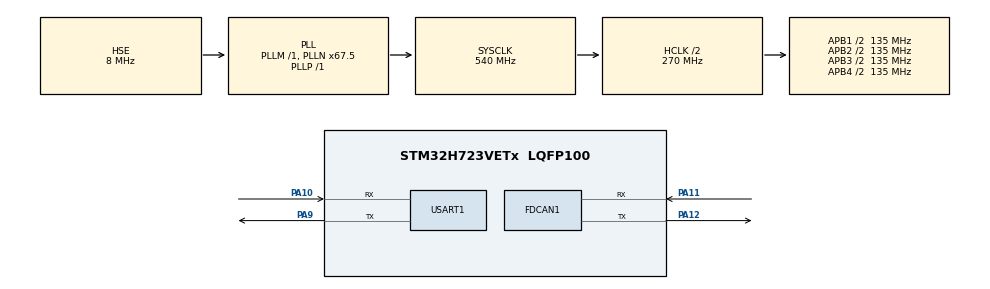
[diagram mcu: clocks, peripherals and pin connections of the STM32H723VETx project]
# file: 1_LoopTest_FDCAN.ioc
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FDCAN1.CalculateBaudRateNominal=1000000
FDCAN1.CalculateTimeBitNominal=1000
FDCAN1.CalculateTimeQuantumNominal=200.0
FDCAN1.DataPrescaler=1
FDCAN1.DataTimeSeg1=1
FDCAN1.Mode=FDCAN_MODE_EXTERNAL_LOOPBACK
FDCAN1.NominalPrescaler=27
FDCAN1.NominalTimeSeg1=2
FDCAN1.RxFifo0ElmtsNbr=32
FDCAN1.StdFiltersNbr=1
FDCAN1.TxFifoQueueElmtsNbr=32
Mcu.Family=STM32H7
Mcu.Name=STM32H723VETx
Mcu.Package=LQFP100
NVIC.FDCAN1_IT0_IRQn=true\:0\:0\:false\:false\:true\:true\:true\:true
NVIC.PriorityGroup=NVIC_PRIORITYGROUP_4
PA10.Mode=Asynchronous
PA10.Signal=USART1_RX
PA11.Mode=FDCAN_Activate
PA11.Signal=FDCAN1_RX
PA12.Mode=FDCAN_Activate
PA12.Signal=FDCAN1_TX
PA13(JTMS/SWDIO).Mode=Serial_Wire
PA13(JTMS/SWDIO).Signal=DEBUG_JTMS-SWDIO
PA14(JTCK/SWCLK).Mode=Serial_Wire
PA14(JTCK/SWCLK).Signal=DEBUG_JTCK-SWCLK
PA9.Mode=Asynchronous
PA9.Signal=USART1_TX
PH0-OSC_IN.Mode=HSE-External-Oscillator
PH0-OSC_IN.Signal=RCC_OSC_IN
PH1-OSC_OUT.Mode=HSE-External-Oscillator
PH1-OSC_OUT.Signal=RCC_OSC_OUT
ProjectManager.HeapSize=0x200
ProjectManager.StackSize=0x400
ProjectManager.TargetToolchain=Makefile
RCC.ADCFreq_Value=16125000
RCC.APB1Freq_Value=135000000
RCC.APB2Freq_Value=135000000
RCC.APB3Freq_Value=135000000
RCC.APB4Freq_Value=135000000
RCC.CortexFreq_Value=540000000
RCC.D1PPRE=RCC_APB3_DIV2
RCC.D2PPRE1=RCC_APB1_DIV2
RCC.D2PPRE2=RCC_APB2_DIV2
RCC.D3PPRE=RCC_APB4_DIV2
RCC.DIVM1=1
RCC.DIVN1=67
RCC.DIVP1=1
RCC.DIVQ1=4
RCC.HCLKFreq_Value=270000000
RCC.HPRE=RCC_HCLK_DIV2
RCC.HSE_VALUE=8000000
RCC.PLLFRACN=4096
RCC.PLLSourceVirtual=RCC_PLLSOURCE_HSE
RCC.SYSCLKFreq_VALUE=540000000
RCC.SYSCLKSource=RCC_SYSCLKSOURCE_PLLCLK
RCC.USBFreq_Value=135000000
USART1.VirtualMode-Asynchronous=VM_ASYNC
board=custom

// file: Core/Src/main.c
/* USER CODE BEGIN Header */
/**
 ******************************************************************************
 * @file           : main.c
 * @brief          : Main program body
 ******************************************************************************
 * @attention
 *
 * Copyright (c) 2023 STMicroelectronics.
 * All rights reserved.
 *
 * This software is licensed under terms that can be found in the LICENSE file
 * in the root directory of this software component.
 * If no LICENSE file comes with this software, it is provided AS-IS.
 *
 ******************************************************************************
 */
/* USER CODE END Header */
#include "main.h"
#include "fdcan.h"
#include "usart.h"
#include "gpio.h"

/* USER CODE BEGIN Includes */
#include "can_config.h"
#include <stdio.h>
/* USER CODE END Includes */

void SystemClock_Config(void);

/* USER CODE BEGIN 0 */
CAN_MSG can_msg;
/* USER CODE END 0 */

int main(void)
{

    /* MCU Configuration--------------------------------------------------------*/

    /* Reset of all peripherals, Initializes the Flash interface and the Systick. */
    HAL_Init();

    /* Configure the system clock */
    SystemClock_Config();

    /* Initialize all configured peripherals */
    MX_GPIO_Init();
    MX_FDCAN1_Init();
    MX_USART1_UART_Init();
    /* USER CODE BEGIN 2 */
    fdcan1.FDCAN_Rx_Filter_Init();
    fdcan1.FDCAN_Start();
    fdcan1.FDCAN_Interrupt_Init();

    can_msg.id        = 0x100;
    can_msg.len       = 0x08;
    can_msg.rtr       = DATA_FRAME;
    can_msg.buffer[0] = 0x01;
    can_msg.buffer[1] = 0x02;
    can_msg.buffer[2] = 0x03;
    can_msg.buffer[3] = 0x04;
    can_msg.buffer[4] = 0x05;
    can_msg.buffer[5] = 0x06;
    can_msg.buffer[6] = 0x07;
    can_msg.buffer[7] = 0x08;
    /* USER CODE END 2 */

    /* Infinite loop */
    while (1) {

        /* USER CODE BEGIN 3 */
        fdcan1.FDCAN_Send_MSG(&can_msg);
        printf("%d\r\n", fdcan1_rxdata[3]);
        HAL_Delay(1000);
    }
    /* USER CODE END 3 */
}

void SystemClock_Config(void)
{
    RCC_OscInitTypeDef RCC_OscInitStruct = {0};
    RCC_ClkInitTypeDef RCC_ClkInitStruct = {0};

    /** Supply configuration update enable
     */
    HAL_PWREx_ConfigSupply(PWR_LDO_SUPPLY);

    /** Configure the main internal regulator output voltage
     */
    __HAL_PWR_VOLTAGESCALING_CONFIG(PWR_REGULATOR_VOLTAGE_SCALE0);

    while (!__HAL_PWR_GET_FLAG(PWR_FLAG_VOSRDY)) {}

    /** Initializes the RCC Oscillators according to the specified parameters
     * in the RCC_OscInitTypeDef structure.
     */
    RCC_OscInitStruct.OscillatorType = RCC_OSCILLATORTYPE_HSE;
    RCC_OscInitStruct.HSEState       = RCC_HSE_ON;
    RCC_OscInitStruct.PLL.PLLState   = RCC_PLL_ON;
    RCC_OscInitStruct.PLL.PLLSource  = RCC_PLLSOURCE_HSE;
    RCC_OscInitStruct.PLL.PLLM       = 1;
    RCC_OscInitStruct.PLL.PLLN       = 67;
    RCC_OscInitStruct.PLL.PLLP       = 1;
    RCC_OscInitStruct.PLL.PLLQ       = 4;
    RCC_OscInitStruct.PLL.PLLR       = 2;
    RCC_OscInitStruct.PLL.PLLRGE     = RCC_PLL1VCIRANGE_3;
    RCC_OscInitStruct.PLL.PLLVCOSEL  = RCC_PLL1VCOWIDE;
    RCC_OscInitStruct.PLL.PLLFRACN   = 4096;
    if (HAL_RCC_OscConfig(&RCC_OscInitStruct) != HAL_OK) {
        Error_Handler();
    }

    /** Initializes the CPU, AHB and APB buses clocks
     */
    RCC_ClkInitStruct.ClockType      = RCC_CLOCKTYPE_HCLK | RCC_CLOCKTYPE_SYSCLK | RCC_CLOCKTYPE_PCLK1 | RCC_CLOCKTYPE_PCLK2 | RCC_CLOCKTYPE_D3PCLK1 | RCC_CLOCKTYPE_D1PCLK1;
    RCC_ClkInitStruct.SYSCLKSource   = RCC_SYSCLKSOURCE_PLLCLK;
    RCC_ClkInitStruct.SYSCLKDivider  = RCC_SYSCLK_DIV1;
    RCC_ClkInitStruct.AHBCLKDivider  = RCC_HCLK_DIV2;
    RCC_ClkInitStruct.APB3CLKDivider = RCC_APB3_DIV2;
    RCC_ClkInitStruct.APB1CLKDivider = RCC_APB1_DIV2;
    RCC_ClkInitStruct.APB2CLKDivider = RCC_APB2_DIV2;
    RCC_ClkInitStruct.APB4CLKDivider = RCC_APB4_DIV2;

    if (HAL_RCC_ClockConfig(&RCC_ClkInitStruct, FLASH_LATENCY_3) != HAL_OK) {
        Error_Handler();
    }
}

void Error_Handler(void)
{
    __disable_irq();
    while (1) {
    }
}
